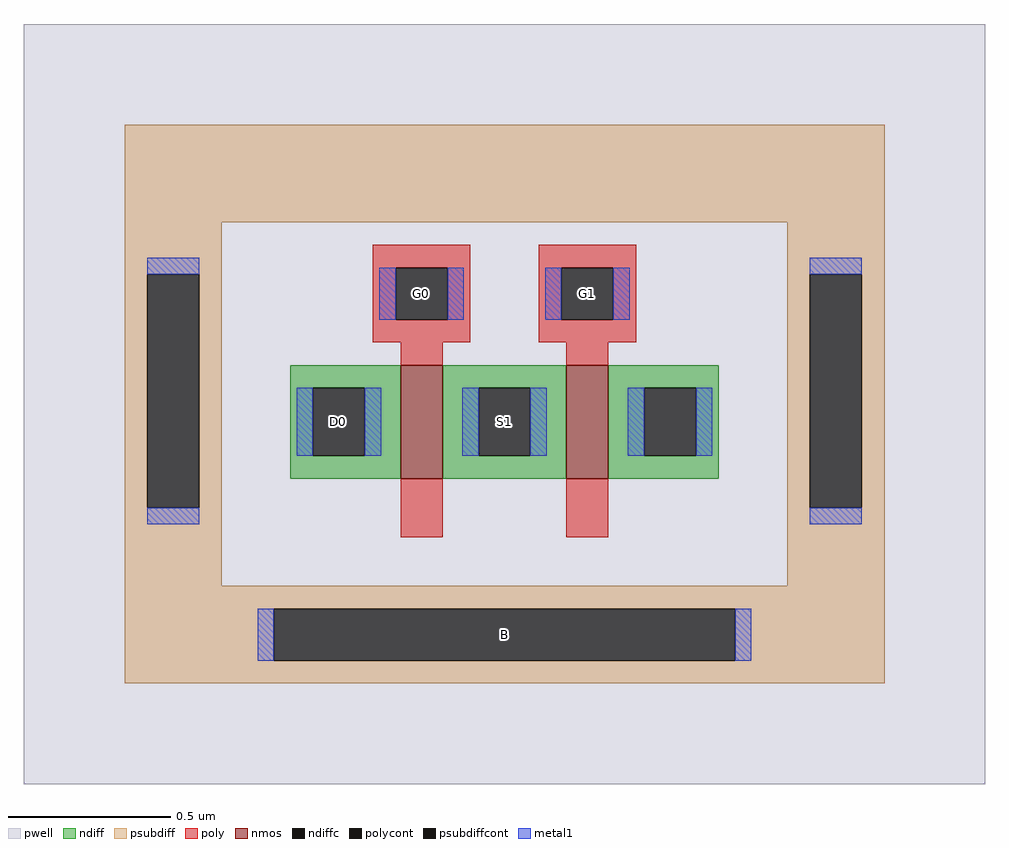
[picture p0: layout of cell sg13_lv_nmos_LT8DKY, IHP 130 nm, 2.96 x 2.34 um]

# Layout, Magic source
magic
tech ihp-sg13cmos5l
magscale 1 2
<< pwell >>
rect -296 -242 296 226
<< nmos >>
rect -64 -54 -38 16
rect 38 -54 64 16
<< ndiff >>
rect -132 2 -64 16
rect -132 -40 -118 2
rect -86 -40 -64 2
rect -132 -54 -64 -40
rect -38 2 38 16
rect -38 -40 -16 2
rect 16 -40 38 2
rect -38 -54 38 -40
rect 64 2 132 16
rect 64 -40 86 2
rect 118 -40 132 2
rect 64 -54 132 -40
<< ndiffc >>
rect -118 -40 -86 2
rect -16 -40 16 2
rect 86 -40 118 2
<< psubdiff >>
rect -234 104 234 164
rect -234 72 -174 104
rect -234 -72 -220 72
rect -188 -72 -174 72
rect 174 72 234 104
rect -234 -120 -174 -72
rect 174 -72 188 72
rect 220 -72 234 72
rect 174 -120 234 -72
rect -234 -134 234 -120
rect -234 -166 -142 -134
rect 142 -166 234 -134
rect -234 -180 234 -166
<< psubdiffcont >>
rect -220 -72 -188 72
rect 188 -72 220 72
rect -142 -166 142 -134
<< poly >>
rect -81 76 -21 90
rect -81 44 -67 76
rect -35 44 -21 76
rect -81 30 -21 44
rect 21 76 81 90
rect 21 44 35 76
rect 67 44 81 76
rect 21 30 81 44
rect -64 16 -38 30
rect 38 16 64 30
rect -64 -90 -38 -54
rect 38 -90 64 -54
<< polycont >>
rect -67 44 -35 76
rect 35 44 67 76
<< metal1 >>
rect -220 72 -188 82
rect -77 44 -67 76
rect -35 44 -25 76
rect 25 44 35 76
rect 67 44 77 76
rect 188 72 220 82
rect -128 -40 -118 2
rect -86 -40 -76 2
rect -26 -40 -16 2
rect 16 -40 26 2
rect 76 -40 86 2
rect 118 -40 128 2
rect -220 -82 -188 -72
rect 188 -82 220 -72
rect -152 -166 -142 -134
rect 142 -166 152 -134
<< labels >>
rlabel ndiffc -102 -19 -102 -19 0 D0
port 2 nsew
rlabel polycont -51 60 -51 60 0 G0
port 3 nsew
rlabel ndiffc 0 -19 0 -19 0 S1
port 4 nsew
rlabel polycont 51 60 51 60 0 G1
port 5 nsew
rlabel psubdiffcont 0 -150 0 -150 0 B
port 1 nsew
<< properties >>
string FIXED_BBOX -204 -134 204 134
string gencell sg13_lv_nmos
string library sg13cmos5l
string parameters w 0.35 l 0.13 m 1 ng 2 diffcov 100 polycov 100 guard 1 glc 1 grc 1 gtc 0 gbc 1 tbcov 100 rlcov 100 topc 1 botc 0 poverlap 0 doverlap 1 lmin 0.13 wmin 0.15 class mosfet compatible {sg13_lv_nmos sg13_hv_nmos} full_metal 0 conn_gates 0 gate_ring 0 doports 1 viasrc 0 viadrn 0 viagate 0 ccols 1 viagb 0 viagr 0 viagl 0 viagt 0
<< end >>
